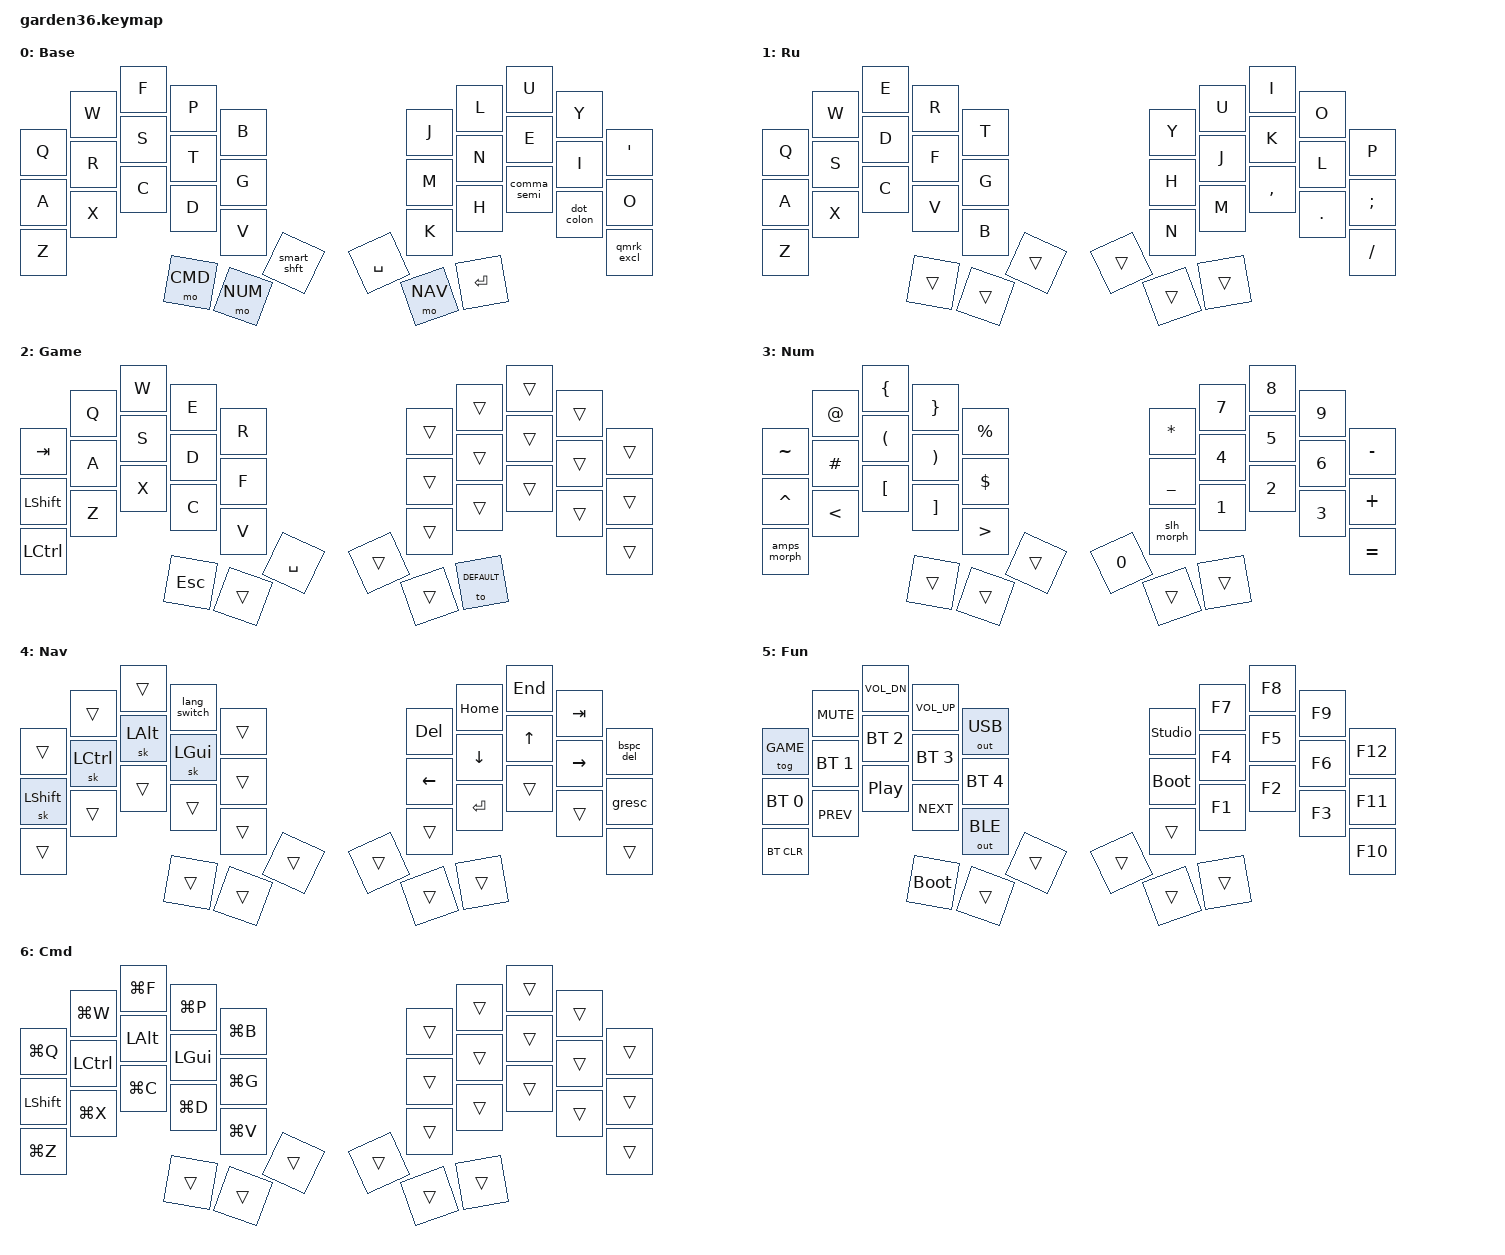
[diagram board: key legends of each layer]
/*
 * Copyright (c) 2020 The ZMK Contributors
 *
 * SPDX-License-Identifier: MIT
 */

#include <behaviors.dtsi>
#include <dt-bindings/zmk/keys.h>
#include <dt-bindings/zmk/bt.h>
#include <dt-bindings/zmk/outputs.h>

#define DEFAULT 0
#define RU 1
#define GAME 2
#define NUM 3
#define NAV 4
#define FUN 5
#define CMD 6

# define ______ &trans

/ {
    conditional_layers {
        compatible = "zmk,conditional-layers";
        tri_layer {
            if-layers = <NUM NAV>;
            then-layer = <FUN>;
        };
    };
    // Russian letters that do not fit the 3x10 grid. Vertical pairs, so fast
    // typing on one row does not trigger them. Keycodes follow the Windows
    // Russian (ЙЦУКЕН) layout.
    combos {
        compatible = "zmk,combos";
        combo_ru_kha {
            timeout-ms = <50>;
            key-positions = <9 19>;     // з + ж
            bindings = <&kp LBKT>;      // х
            layers = <RU>;
        };
        combo_ru_hard_sign {
            timeout-ms = <50>;
            key-positions = <8 18>;     // щ + д
            bindings = <&kp RBKT>;      // ъ
            layers = <RU>;
        };
        combo_ru_e {
            timeout-ms = <50>;
            key-positions = <19 29>;    // ж + .
            bindings = <&kp SQT>;       // э
            layers = <RU>;
        };
        combo_ru_yo {
            timeout-ms = <50>;
            key-positions = <4 14>;     // е + п
            bindings = <&kp GRAVE>;     // ё
            layers = <RU>;
        };
    };
    macros {
        // Switch the Windows input language and the Ru layer together.
        // Win+Space moves to the next language, so keep exactly two installed.
        lang_switch: lang_switch {
            compatible = "zmk,behavior-macro";
            #binding-cells = <0>;
            bindings = <&kp LG(SPACE)>, <&tog RU>;
        };
    };
    behaviors {
        bspc_del: backspace_delete {
            compatible = "zmk,behavior-mod-morph";
            #binding-cells = <0>;
            bindings = <&kp BACKSPACE>, <&kp DELETE>;
            mods = <(MOD_LSFT|MOD_RSFT)>;
            keep-mods = <(MOD_RSFT)>;
        };
        // Tap once for a sticky shift, twice for caps word: the second tap
        // sees LSFT still held by the sticky key, so the morph fires.
        smart_shft: smart_shift {
            compatible = "zmk,behavior-mod-morph";
            #binding-cells = <0>;
            bindings = <&sk LSHFT>, <&caps_word>;
            mods = <(MOD_LSFT)>;
        };
        comma_semi: comma_semi {
            compatible = "zmk,behavior-mod-morph";
            #binding-cells = <0>;
            bindings = <&kp COMMA>, <&kp SEMI>;
            mods = <(MOD_LSFT)>;
        };
        dot_colon: dot_colon {
            compatible = "zmk,behavior-mod-morph";
            #binding-cells = <0>;
            bindings = <&kp DOT>, <&kp COLON>;
            mods = <(MOD_LSFT)>;
        };
        qmrk_excl: qmrk_excl {
            compatible = "zmk,behavior-mod-morph";
            #binding-cells = <0>;
            bindings = <&kp QMARK>, <&kp EXCL>;
            mods = <(MOD_LSFT)>;
        };
        slh_morph: slh_morph {
            compatible = "zmk,behavior-mod-morph";
            #binding-cells = <0>;
            bindings = <&kp FSLH>, <&kp BSLH>;
            mods = <(MOD_LSFT)>;
        };
        amps_morph: amps_morph {
            compatible = "zmk,behavior-mod-morph";
            #binding-cells = <0>;
            bindings = <&kp AMPS>, <&kp PIPE>;
            mods = <(MOD_LSFT)>;
        };
    };
        keymap {
                compatible = "zmk,keymap";

                default_layer {
                        display-name = "Base";
                        bindings = <
// ╭─────────────┬─────────────┬─────────────┬─────────────┬─────────────╮   ╭─────────────┬─────────────┬─────────────┬─────────────┬─────────────╮
        &kp Q         &kp W         &kp F         &kp P         &kp B             &kp J         &kp L         &kp U         &kp Y       &kp APOS   
// ├─────────────┼─────────────┼─────────────┼─────────────┼─────────────┤   ├─────────────┼─────────────┼─────────────┼─────────────┼─────────────┤
        &kp A         &kp R         &kp S         &kp T         &kp G             &kp M         &kp N         &kp E         &kp I         &kp O
// ├─────────────┼─────────────┼─────────────┼─────────────┼─────────────┤   ├─────────────┼─────────────┼─────────────┼─────────────┼─────────────┤
        &kp Z         &kp X         &kp C         &kp D         &kp V             &kp K         &kp H      &comma_semi    &dot_colon    &qmrk_excl
// ╰─────────────┴─────────────┼─────────────┼─────────────┼─────────────┤   ├─────────────┼─────────────┼─────────────┼─────────────┴─────────────╯
                                   &mo CMD       &mo NUM     &smart_shft        &kp SPACE      &mo NAV       &kp RET
//                             ╰─────────────┴─────────────┴─────────────╯   ╰─────────────┴─────────────┴─────────────╯
                        >;
                };
                ru_layer {
                        display-name = "Ru";
                        bindings = <
// ╭─────────────┬─────────────┬─────────────┬─────────────┬─────────────╮   ╭─────────────┬─────────────┬─────────────┬─────────────┬─────────────╮
        &kp Q         &kp W         &kp E         &kp R         &kp T             &kp Y         &kp U         &kp I         &kp O         &kp P
//         й             ц             у             к             е                 н             г             ш             щ             з
// ├─────────────┼─────────────┼─────────────┼─────────────┼─────────────┤   ├─────────────┼─────────────┼─────────────┼─────────────┼─────────────┤
        &kp A         &kp S         &kp D         &kp F         &kp G             &kp H         &kp J         &kp K         &kp L        &kp SEMI
//         ф             ы             в             а             п                 р             о             л             д             ж
// ├─────────────┼─────────────┼─────────────┼─────────────┼─────────────┤   ├─────────────┼─────────────┼─────────────┼─────────────┼─────────────┤
        &kp Z         &kp X         &kp C         &kp V         &kp B             &kp N         &kp M       &kp COMMA      &kp DOT       &kp FSLH
//         я             ч             с             м             и                 т             ь             б             ю           . (,)
// ╰─────────────┴─────────────┼─────────────┼─────────────┼─────────────┤   ├─────────────┼─────────────┼─────────────┼─────────────┴─────────────╯
                                    ______        ______        ______            ______        ______        ______
//                             ╰─────────────┴─────────────┴─────────────╯   ╰─────────────┴─────────────┴─────────────╯
                        >;
                };
                game_layer {
                        display-name = "Game";
                        bindings = <
// ╭─────────────┬─────────────┬─────────────┬─────────────┬─────────────╮   ╭─────────────┬─────────────┬─────────────┬─────────────┬─────────────╮
        &kp TAB       &kp Q         &kp W         &kp E         &kp R             ______        ______        ______        ______        ______  
// ├─────────────┼─────────────┼─────────────┼─────────────┼─────────────┤   ├─────────────┼─────────────┼─────────────┼─────────────┼─────────────┤
       &kp LSHFT      &kp A         &kp S         &kp D         &kp F             ______        ______        ______        ______        ______
// ├─────────────┼─────────────┼─────────────┼─────────────┼─────────────┤   ├─────────────┼─────────────┼─────────────┼─────────────┼─────────────┤
       &kp LCTRL      &kp Z         &kp X         &kp C         &kp V             ______        ______        ______        ______        ______
// ╰─────────────┴─────────────┼─────────────┼─────────────┼─────────────┤   ├─────────────┼─────────────┼─────────────┼─────────────┴─────────────╯
                                    &kp ESC       ______      &kp SPACE           ______        ______      &to DEFAULT
//                             ╰─────────────┴─────────────┴─────────────╯   ╰─────────────┴─────────────┴─────────────╯
                        >;
                };
                num_layer {
                        display-name = "Num";
                        bindings = <
// ╭─────────────┬─────────────┬─────────────┬─────────────┬─────────────╮   ╭─────────────┬─────────────┬─────────────┬─────────────┬─────────────╮
      &kp TILDE       &kp AT       &kp LBRC      &kp RBRC     &kp PRCNT          &kp STAR       &kp N7        &kp N8        &kp N9      &kp MINUS
// ├─────────────┼─────────────┼─────────────┼─────────────┼─────────────┤   ├─────────────┼─────────────┼─────────────┼─────────────┼─────────────┤
      &kp CARET      &kp HASH      &kp LPAR      &kp RPAR      &kp DLLR         &kp UNDER       &kp N4        &kp N5        &kp N6      &kp PLUS
// ├─────────────┼─────────────┼─────────────┼─────────────┼─────────────┤   ├─────────────┼─────────────┼─────────────┼─────────────┼─────────────┤
      &amps_morph     &kp LT       &kp LBKT      &kp RBKT       &kp GT          &slh_morph      &kp N1        &kp N2        &kp N3      &kp EQUAL
// ╰─────────────┴─────────────┼─────────────┼─────────────┼─────────────┤   ├─────────────┼─────────────┼─────────────┼─────────────┴─────────────╯
                                    ______        ______        ______            &kp N0        ______        ______
//                             ╰─────────────┴─────────────┴─────────────╯   ╰─────────────┴─────────────┴─────────────╯
                        >;
                };

                nav_layer {
                        display-name = "Nav";
                        bindings = <
// ╭─────────────┬─────────────┬─────────────┬─────────────┬─────────────╮   ╭─────────────┬─────────────┬─────────────┬─────────────┬─────────────╮
        ______        ______        ______     &lang_switch     ______           &kp DEL       &kp HOME      &kp END       &kp TAB      &bspc_del
// ├─────────────┼─────────────┼─────────────┼─────────────┼─────────────┤   ├─────────────┼─────────────┼─────────────┼─────────────┼─────────────┤
      &sk LSHFT     &sk LCTRL      &sk LALT      &sk LGUI       ______           &kp LEFT      &kp DOWN       &kp UP      &kp RIGHT       &gresc
// ├─────────────┼─────────────┼─────────────┼─────────────┼─────────────┤   ├─────────────┼─────────────┼─────────────┼─────────────┼─────────────┤
        ______        ______        ______        ______        ______            ______        &kp RET       ______        ______        ______
// ╰─────────────┴─────────────┼─────────────┼─────────────┼─────────────┤   ├─────────────┼─────────────┼─────────────┼─────────────┴─────────────╯
                                    ______        ______        ______            ______        ______        ______
//                             ╰─────────────┴─────────────┴─────────────╯   ╰─────────────┴─────────────┴─────────────╯
                        >;
                };

                fun_layer {
                        display-name = "Fun";
                        bindings = <
// ╭─────────────┬─────────────┬─────────────┬─────────────┬─────────────╮   ╭─────────────┬─────────────┬─────────────┬─────────────┬─────────────╮
      &tog GAME    &kp K_MUTE    &kp C_VOL_DN  &kp C_VOL_UP  &out OUT_USB     &studio_unlock    &kp F7        &kp F8        &kp F9       &kp F12
// ├─────────────┼─────────────┼─────────────┼─────────────┼─────────────┤   ├─────────────┼─────────────┼─────────────┼─────────────┼─────────────┤
     &bt BT_SEL 0  &bt BT_SEL 1  &bt BT_SEL 2  &bt BT_SEL 3  &bt BT_SEL 4     &bootloader       &kp F4        &kp F5        &kp F6       &kp F11
// ├─────────────┼─────────────┼─────────────┼─────────────┼─────────────┤   ├─────────────┼─────────────┼─────────────┼─────────────┼─────────────┤
      &bt BT_CLR    &kp C_PREV     &kp C_PP     &kp C_NEXT   &out OUT_BLE         ______        &kp F1        &kp F2        &kp F3       &kp F10
// ╰─────────────┴─────────────┼─────────────┼─────────────┼─────────────┤   ├─────────────┼─────────────┼─────────────┼─────────────┴─────────────╯ 
                                 &bootloader      ______        ______            ______        ______        ______
//                             ╰─────────────┴─────────────┴─────────────╯   ╰─────────────┴─────────────┴─────────────╯
                        >;
                };

                cmd_layer {
                        display-name = "Cmd";
                        bindings = <
// ╭─────────────┬─────────────┬─────────────┬─────────────┬─────────────╮   ╭─────────────┬─────────────┬─────────────┬─────────────┬─────────────╮
       &kp LG(Q)    &kp LG(W)     &kp LG(F)     &kp LG(P)     &kp LG(B)           ______        ______        ______        ______        ______  
// ├─────────────┼─────────────┼─────────────┼─────────────┼─────────────┤   ├─────────────┼─────────────┼─────────────┼─────────────┼─────────────┤
       &kp LSHFT    &kp LCTRL     &kp LALT      &kp LGUI      &kp LG(G)           ______        ______        ______        ______        ______
// ├─────────────┼─────────────┼─────────────┼─────────────┼─────────────┤   ├─────────────┼─────────────┼─────────────┼─────────────┼─────────────┤
       &kp LG(Z)    &kp LG(X)     &kp LG(C)     &kp LG(D)     &kp LG(V)           ______        ______        ______        ______        ______
// ╰─────────────┴─────────────┼─────────────┼─────────────┼─────────────┤   ├─────────────┼─────────────┼─────────────┼─────────────┴─────────────╯
                                    ______        ______        ______            ______        ______        ______
//                             ╰─────────────┴─────────────┴─────────────╯   ╰─────────────┴─────────────┴─────────────╯
                        >;
                };
        };
};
